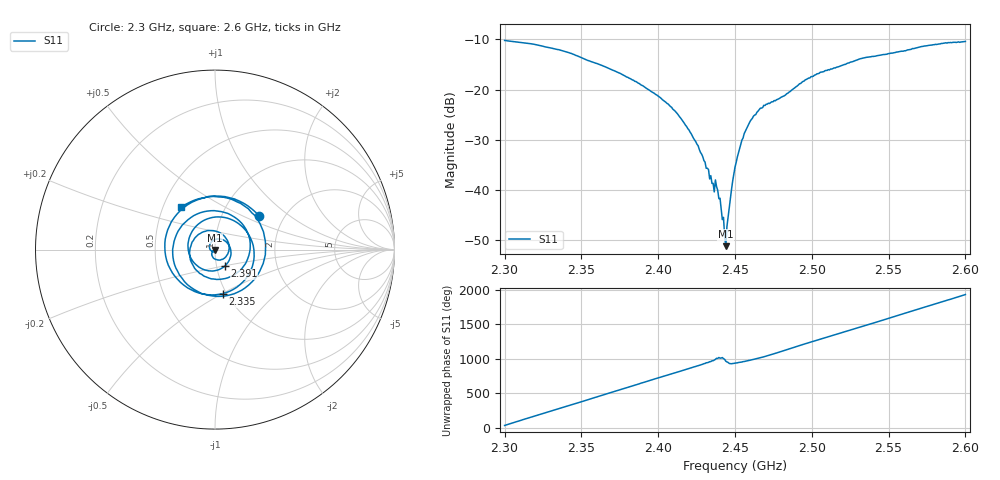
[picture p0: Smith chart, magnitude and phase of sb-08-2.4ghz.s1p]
! NanoVNA-App
! Date: 2026-05-22 17:34:50
! Start: 2.3GHz Stop: 2.6GHz Points: 401
! S-Parameter data: F S11
# Hz S RI R 50
!  Frequency  S11_Real  S11_Imag
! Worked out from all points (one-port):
!   401 points, 2.3 GHz to 2.6 GHz, reference 50 ohm
!   lowest |S11| = -51.2 dB at 2.444 GHz (marker M1), VSWR 1.01, Z = 49.9 - j0.25 ohm
!   |S11| at or under -10 dB: start of sweep to end of sweep
!   S11 on the Smith chart (normalised r, x): 2.3 GHz: 1.50, +0.61; 2.335 GHz: 0.96, -0.50; 2.391 GHz: 1.09, -0.20; 2.6 GHz: 0.62, +0.32
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2.3e9  0.2465 0.185
2.309e9  -0.0478 0.2919
2.31875e9  -0.2768 0.0603
2.3285e9  -0.1523 -0.2135
2.33525e9  0.0433 -0.2458
2.3375e9  0.102 -0.2218
2.34725e9  0.2167 -0.000986
2.35775e9  0.0539 0.1788
2.375e9  -0.1426 -0.0292
2.39075e9  0.054 -0.0923
2.4125e9  0.00238 0.0573
2.43875e9  0.00268 -0.00955
2.4425e9  0.00113 -0.00521
2.444e9  -0.00114 -0.00251
2.45e9  -0.0135 -0.0101
2.46125e9  -0.00203 -0.0515
2.4875e9  0.0162 0.0989
2.5055e9  -0.1374 -0.0564
2.516e9  0.00916 -0.1663
2.525e9  0.1695 -0.0791
2.53325e9  0.1777 0.1037
2.54375e9  -0.043 0.2145
2.5535e9  -0.2281 0.0459
2.5625e9  -0.1543 -0.1947
2.5715e9  0.1069 -0.246
2.582e9  0.2819 0.0228
2.59175e9  0.0963 0.2788
2.6e9  -0.1869 0.2364
